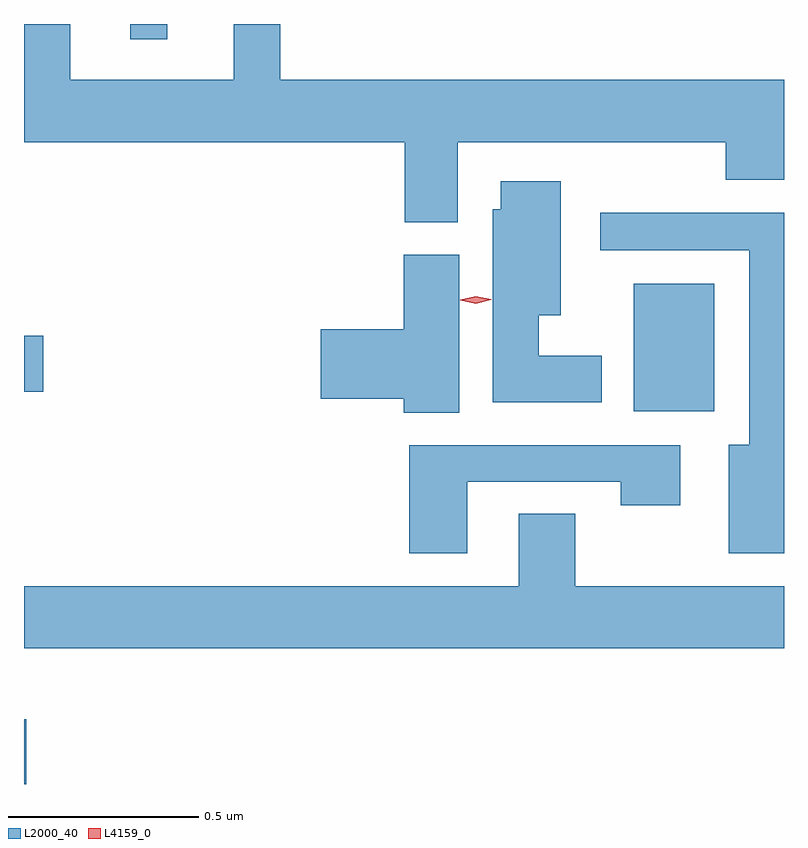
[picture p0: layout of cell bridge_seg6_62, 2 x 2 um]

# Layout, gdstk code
import gdstk
lib = gdstk.Library(unit=1e-6, precision=1e-09)
def R(c, l, rs):  # rectangles x0, y0, x1, y1
    for r in rs: c.add(gdstk.rectangle(r[:2], r[2:], *l))
def P(c, l, *ps):  # polygons
    for p in ps: c.add(gdstk.Polygon(p, *l))
L2000_40 = (2000, 40)
L4159_0 = (4159, 0)

bridge_seg6_62 = lib.new_cell('bridge_seg6_62')
R(bridge_seg6_62, L2000_40, [(657.857,968.291,657.863,968.461), (659.462,969.272,659.674,969.607), (657.857,969.323,657.907,969.47), (658.136,970.251,658.234,970.291)])
P(bridge_seg6_62, L2000_40, [(658.999,969.98),(659.704,969.98),(659.704,969.881),(659.857,969.881),(659.857,970.144),(658.531,970.144),(658.531,970.291),(658.409,970.291),(658.409,970.144),(657.979,970.144),(657.979,970.291),(657.857,970.291),(657.857,969.98),(658.859,969.98),(658.859,969.769),(658.999,969.769)],
  [(659.377,969.418),(659.212,969.418),(659.212,969.524),(659.269,969.524),(659.269,969.877),(659.111,969.877),(659.111,969.804),(659.09,969.804),(659.09,969.296),(659.377,969.296)],
  [(659.857,969.794),(659.373,969.794),(659.373,969.696),(659.765,969.696),(659.765,969.184),(659.711,969.184),(659.711,968.898),(659.857,968.898)],
  [(659.002,969.684),(658.856,969.684),(658.856,969.488),(658.638,969.488),(658.638,969.305),(658.856,969.305),(658.856,969.268),(659.002,969.268)],
  [(659.023,969.087),(659.428,969.087),(659.428,969.024),(659.584,969.024),(659.584,969.183),(658.871,969.183),(658.871,968.898),(659.023,968.898)],
  [(659.857,968.812),(659.307,968.812),(659.307,969.002),(659.159,969.002),(659.159,968.812),(657.857,968.812),(657.857,968.648),(659.857,968.648)])
P(bridge_seg6_62, L4159_0, [(659.046,969.555),(659.005,969.564),(659.005,969.565),(659.005,969.565),(659.046,969.575),(659.087,969.567),(659.087,969.566),(659.087,969.566)])

lib.write_gds('bridge_seg6_62.gds')
